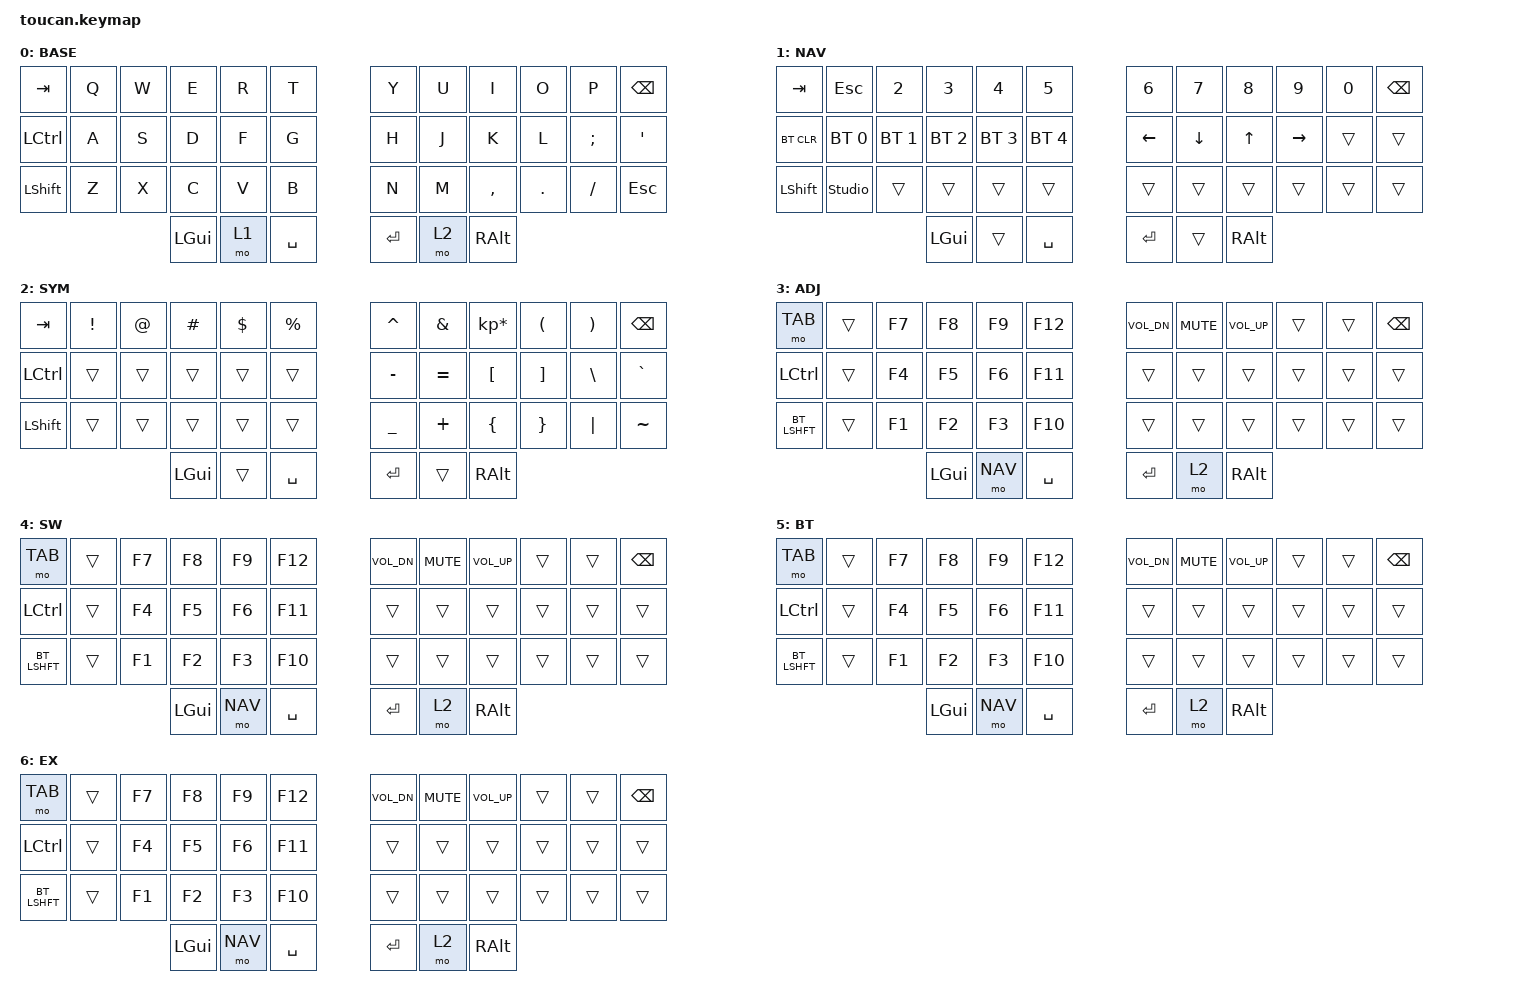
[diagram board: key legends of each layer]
#include <behaviors.dtsi>
#include <dt-bindings/zmk/keys.h>
#include <dt-bindings/zmk/bt.h>
#include <dt-bindings/zmk/outputs.h>

#define BASE 0
#define NAV  1
#define SYM  2
#define ADJ  3

/ {
    conditional_layers {
        compatible = "zmk,conditional-layers";
        tri_layer {
            if-layers = <1 2>;
            then-layer = <3>;
        };
    };

    keymap {
        compatible = "zmk,keymap";

        base {
            display-name = "BASE";
            bindings = <
                &kp TAB   &kp Q &kp W &kp E &kp R &kp T   &kp Y &kp U  &kp I     &kp O   &kp P    &kp BSPC
                &kp LCTRL &kp A &kp S &kp D &kp F &kp G   &kp H &kp J  &kp K     &kp L   &kp SEMI &kp SQT
                &kp LSHFT &kp Z &kp X &kp C &kp V &kp B   &kp N &kp M  &kp COMMA &kp DOT &kp FSLH &kp ESC
                                &kp LGUI &mo 1 &kp SPACE   &kp RET &mo 2 &kp RALT
            >;
        };

        nav {
            display-name = "NAV";
            bindings = <
                &kp TAB     &kp ESC          &kp N2       &kp N3       &kp N4       &kp N5         &kp N6   &kp N7   &kp N8 &kp N9    &kp N0 &kp BSPC
                &bt BT_CLR  &bt BT_SEL 0    &bt BT_SEL 1 &bt BT_SEL 2 &bt BT_SEL 3 &bt BT_SEL 4   &kp LEFT &kp DOWN &kp UP &kp RIGHT &trans &trans
                &kp LSHFT   &studio_unlock  &trans       &trans       &trans       &trans         &trans   &trans   &trans &trans    &trans &trans
                                                &kp LGUI     &trans       &kp SPACE      &kp RET  &trans   &kp RALT
            >;
        };

        sym {
            display-name = "SYM";
            bindings = <
                &kp TAB   &kp EXCL &kp AT &kp HASH &kp DLLR &kp PRCNT   &kp CARET &kp AMPS  &kp KP_MULTIPLY &kp LPAR &kp RPAR &kp BSPC
                &kp LCTRL &trans   &trans &trans   &trans   &trans      &kp MINUS &kp EQUAL &kp LBKT        &kp RBKT &kp BSLH &kp GRAVE
                &kp LSHFT &trans   &trans &trans   &trans   &trans      &kp UNDER &kp PLUS  &kp LBRC        &kp RBRC &kp PIPE &kp TILDE
                                          &kp LGUI &trans   &kp SPACE   &kp RET   &trans    &kp RALT
            >;
        };

        adj {
            display-name = "ADJ";
            bindings = <
                &mo TAB   &trans &kp F7 &kp F8 &kp F9 &kp F12   &kp C_VOL_DN &kp C_MUTE  &kp C_VOL_UP &trans &trans &kp BSPC
                &kp LCTRL &trans &kp F4 &kp F5 &kp F6 &kp F11   &trans       &trans      &trans       &trans &trans &trans
                &bt LSHFT &trans &kp F1 &kp F2 &kp F3 &kp F10   &trans       &trans      &trans       &trans &trans &trans
                                   &kp LGUI &mo NAV &kp SPACE   &kp RET &mo 2 &kp RALT
            >;
        };
        sw {
           display-name = "SW";
           bindings = <
                &mo TAB   &trans &kp F7 &kp F8 &kp F9 &kp F12   &kp C_VOL_DN &kp C_MUTE  &kp C_VOL_UP &trans &trans &kp BSPC
                &kp LCTRL &trans &kp F4 &kp F5 &kp F6 &kp F11   &trans       &trans      &trans       &trans &trans &trans
                &bt LSHFT &trans &kp F1 &kp F2 &kp F3 &kp F10   &trans       &trans      &trans       &trans &trans &trans
                                   &kp LGUI &mo NAV &kp SPACE   &kp RET &mo 2 &kp RALT
            >;
        };

        bts {
           display-name = "BT";
           bindings = <
                &mo TAB   &trans &kp F7 &kp F8 &kp F9 &kp F12   &kp C_VOL_DN &kp C_MUTE  &kp C_VOL_UP &trans &trans &kp BSPC
                &kp LCTRL &trans &kp F4 &kp F5 &kp F6 &kp F11   &trans       &trans      &trans       &trans &trans &trans
                &bt LSHFT &trans &kp F1 &kp F2 &kp F3 &kp F10   &trans       &trans      &trans       &trans &trans &trans
                                   &kp LGUI &mo NAV &kp SPACE   &kp RET &mo 2 &kp RALT
            >;
        };

        ex {
           display-name = "EX";
           bindings = <
                &mo TAB   &trans &kp F7 &kp F8 &kp F9 &kp F12   &kp C_VOL_DN &kp C_MUTE  &kp C_VOL_UP &trans &trans &kp BSPC
                &kp LCTRL &trans &kp F4 &kp F5 &kp F6 &kp F11   &trans       &trans      &trans       &trans &trans &trans
                &bt LSHFT &trans &kp F1 &kp F2 &kp F3 &kp F10   &trans       &trans      &trans       &trans &trans &trans
                                   &kp LGUI &mo NAV &kp SPACE   &kp RET &mo 2 &kp RALT
            >;
        };
    };
};
